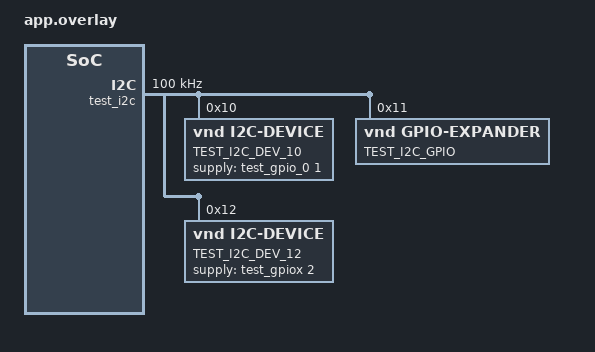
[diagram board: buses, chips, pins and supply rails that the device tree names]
/*
 * Copyright (c) 2020 Nordic Semiconductor ASA
 *
 * SPDX-License-Identifier: Apache-2.0
 *
 * Application overlay for testing the devicetree.h API.
 *
 * Names in this file should be chosen in a way that won't conflict
 * with real-world devicetree nodes, to allow these tests to run on
 * (and be extended to test) real hardware.
 */

/ {
	test {
		#address-cells = <0x1>;
		#size-cells = <0x1>;

		test_gpio_0: gpio@0 {
			gpio-controller;
			#gpio-cells = <0x2>;
			compatible = "vnd,gpio-device";
			status = "okay";
			reg = <0x0 0x1000>;
			label = "TEST_GPIO_0";
		};

		test_i2c: i2c@11112222 {
			#address-cells = <1>;
			#size-cells = <0>;
			compatible = "vnd,i2c";
			status = "okay";
			reg = <0x11112222 0x1000>;
			clock-frequency = <100000>;
			label = "TEST_I2C_CTLR";

			test_dev_a: test-i2c-dev@10 {
				compatible = "vnd,i2c-device";
				status = "okay";
				reg = <0x10>;
				supply-gpios = <&test_gpio_0 1 0>;
				label = "TEST_I2C_DEV_10";
			};

			test_gpiox: test-i2c-dev@11 {
				gpio-controller;
				#gpio-cells = <2>;
				compatible = "vnd,gpio-expander";
				status = "okay";
				reg = <0x11>;
				label = "TEST_I2C_GPIO";
			};

			test_dev_b: test-i2c-dev@12 {
				compatible = "vnd,i2c-device";
				status = "okay";
				reg = <0x12>;
				supply-gpios = <&test_gpiox 2 0>;
				label = "TEST_I2C_DEV_12";
			};

			test_dev_c: test-i2c-dev@13 {
				compatible = "vnd,i2c-device";
				label = "TEST_SPI_DEV_0";
				reg = <0x13>;
				status = "disabled";

				partitions {
					compatible = "fixed-partitions";
					#address-cells = <1>;
					#size-cells = <1>;

					test_p0: partition@0 {
						label = "partition-0";
						reg = <0x00000000 0x0000C000>;
					};
					test_p1: partition@c000 {
						label = "partition-1";
						reg = <0x0000C000 0x00067000>;
					};
				};
			};
		};

		test_gpio_injected: gpio@1000 {
			gpio-controller;
			#gpio-cells = <0x2>;
			compatible = "vnd,gpio-device";
			status = "okay";
			reg = <0x1000 0x1000>;
			label = "TEST_GPIO_INJECTED";
		};
	};
};
